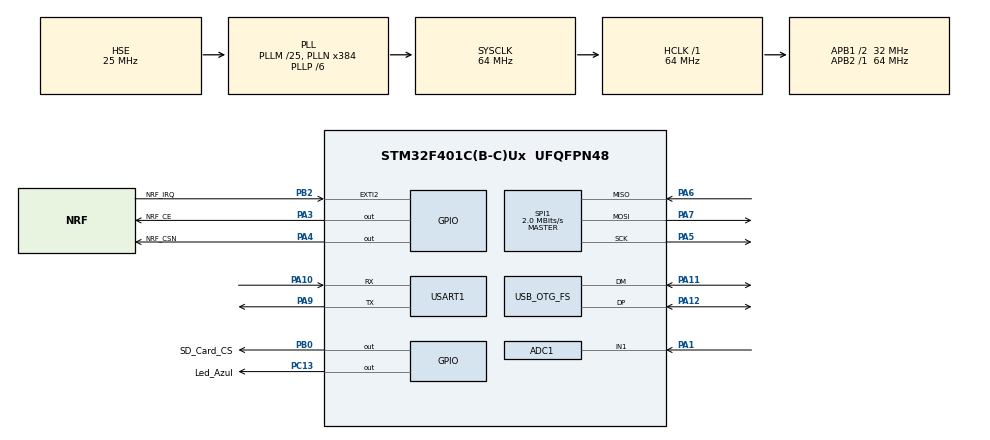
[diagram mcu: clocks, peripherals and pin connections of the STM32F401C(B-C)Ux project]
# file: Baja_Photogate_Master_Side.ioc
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ADC1.Channel-0\#ChannelRegularConversion=ADC_CHANNEL_1
ADC1.ContinuousConvMode=ENABLE
ADC1.DMAContinuousRequests=ENABLE
ADC1.NbrOfConversionFlag=1
ADC1.Rank-0\#ChannelRegularConversion=1
ADC1.SamplingTime-0\#ChannelRegularConversion=ADC_SAMPLETIME_480CYCLES
ADC1.master=1
Dma.ADC1.1.Direction=DMA_PERIPH_TO_MEMORY
Dma.ADC1.1.FIFOMode=DMA_FIFOMODE_DISABLE
Dma.ADC1.1.Instance=DMA2_Stream0
Dma.ADC1.1.MemDataAlignment=DMA_MDATAALIGN_HALFWORD
Dma.ADC1.1.MemInc=DMA_MINC_ENABLE
Dma.ADC1.1.Mode=DMA_CIRCULAR
Dma.ADC1.1.PeriphDataAlignment=DMA_PDATAALIGN_HALFWORD
Dma.ADC1.1.PeriphInc=DMA_PINC_DISABLE
Dma.ADC1.1.Priority=DMA_PRIORITY_LOW
Dma.Request0=USART1_RX
Dma.Request1=ADC1
Dma.Request2=USART1_TX
Dma.USART1_RX.0.Direction=DMA_PERIPH_TO_MEMORY
Dma.USART1_RX.0.FIFOMode=DMA_FIFOMODE_DISABLE
Dma.USART1_RX.0.Instance=DMA2_Stream2
Dma.USART1_RX.0.MemDataAlignment=DMA_MDATAALIGN_BYTE
Dma.USART1_RX.0.MemInc=DMA_MINC_ENABLE
Dma.USART1_RX.0.Mode=DMA_CIRCULAR
Dma.USART1_RX.0.PeriphDataAlignment=DMA_PDATAALIGN_BYTE
Dma.USART1_RX.0.PeriphInc=DMA_PINC_DISABLE
Dma.USART1_RX.0.Priority=DMA_PRIORITY_VERY_HIGH
Dma.USART1_TX.2.Direction=DMA_MEMORY_TO_PERIPH
Dma.USART1_TX.2.FIFOMode=DMA_FIFOMODE_DISABLE
Dma.USART1_TX.2.Instance=DMA2_Stream7
Dma.USART1_TX.2.MemDataAlignment=DMA_MDATAALIGN_BYTE
Dma.USART1_TX.2.MemInc=DMA_MINC_ENABLE
Dma.USART1_TX.2.Mode=DMA_NORMAL
Dma.USART1_TX.2.PeriphDataAlignment=DMA_PDATAALIGN_BYTE
Dma.USART1_TX.2.PeriphInc=DMA_PINC_DISABLE
Dma.USART1_TX.2.Priority=DMA_PRIORITY_LOW
FATFS._CODE_PAGE=860
FATFS._FS_EXFAT=1
FATFS._MAX_SS=512
FATFS._USE_FASTSEEK=1
FATFS._USE_FIND=0
FATFS._USE_LFN=1
FATFS._USE_MKFS=1
Mcu.Family=STM32F4
Mcu.Name=STM32F401C(B-C)Ux
Mcu.Package=UFQFPN48
NVIC.DMA2_Stream0_IRQn=true\:3\:0\:true\:false\:true\:false\:true\:true
NVIC.DMA2_Stream2_IRQn=true\:3\:0\:true\:false\:true\:false\:true\:true
NVIC.DMA2_Stream7_IRQn=true\:3\:0\:true\:false\:true\:false\:true\:true
NVIC.EXTI2_IRQn=true\:1\:0\:true\:false\:true\:true\:true\:false
NVIC.FPU_IRQn=true\:15\:0\:true\:false\:true\:true\:false\:true
NVIC.OTG_FS_IRQn=true\:13\:0\:true\:false\:true\:false\:true\:true
NVIC.PriorityGroup=NVIC_PRIORITYGROUP_4
NVIC.RCC_IRQn=true\:0\:0\:false\:false\:true\:true\:false\:true
NVIC.TIM1_TRG_COM_TIM11_IRQn=true\:1\:0\:true\:false\:true\:true\:true\:true
NVIC.TIM1_UP_TIM10_IRQn=true\:7\:0\:true\:false\:true\:true\:true\:true
PA1.Signal=ADCx_IN1
PA10.Mode=Asynchronous
PA10.Signal=USART1_RX
PA11.Mode=Device_Only
PA11.Signal=USB_OTG_FS_DM
PA12.Mode=Device_Only
PA12.Signal=USB_OTG_FS_DP
PA3.GPIO_Label=NRF_CE
PA3.GPIO_Speed=GPIO_SPEED_FREQ_VERY_HIGH
PA3.Signal=GPIO_Output
PA4.GPIO_Label=NRF_CSN
PA4.GPIO_Speed=GPIO_SPEED_FREQ_VERY_HIGH
PA4.PinState=GPIO_PIN_RESET
PA4.Signal=GPIO_Output
PA5.Mode=Full_Duplex_Master
PA5.Signal=SPI1_SCK
PA6.Mode=Full_Duplex_Master
PA6.Signal=SPI1_MISO
PA7.Mode=Full_Duplex_Master
PA7.Signal=SPI1_MOSI
PA9.Mode=Asynchronous
PA9.Signal=USART1_TX
PB0.GPIO_Label=SD_Card_CS
PB0.GPIO_PuPd=GPIO_PULLUP
PB0.GPIO_Speed=GPIO_SPEED_FREQ_VERY_HIGH
PB0.PinState=GPIO_PIN_SET
PB0.Signal=GPIO_Output
PB2.GPIO_Label=NRF_IRQ
PB2.GPIO_ModeDefaultEXTI=GPIO_MODE_IT_FALLING
PB2.GPIO_PuPd=GPIO_PULLDOWN
PB2.Signal=GPXTI2
PC13-ANTI_TAMP.GPIO_Label=Led_Azul
PC13-ANTI_TAMP.PinState=GPIO_PIN_SET
PC13-ANTI_TAMP.Signal=GPIO_Output
PH0\ -\ OSC_IN.Mode=HSE-External-Oscillator
PH0\ -\ OSC_IN.Signal=RCC_OSC_IN
PH1\ -\ OSC_OUT.Mode=HSE-External-Oscillator
PH1\ -\ OSC_OUT.Signal=RCC_OSC_OUT
ProjectManager.HeapSize=0x200
ProjectManager.StackSize=0x400
ProjectManager.TargetToolchain=STM32CubeIDE
RCC.48MHZClocksFreq_Value=48000000
RCC.AHBFreq_Value=64000000
RCC.APB1CLKDivider=RCC_HCLK_DIV2
RCC.APB1Freq_Value=32000000
RCC.APB1TimFreq_Value=64000000
RCC.APB2Freq_Value=64000000
RCC.APB2TimFreq_Value=64000000
RCC.CortexFreq_Value=64000000
RCC.HCLKFreq_Value=64000000
RCC.HSE_VALUE=25000000
RCC.HSI_VALUE=16000000
RCC.LSE_VALUE=32768
RCC.PLLM=25
RCC.PLLN=384
RCC.PLLP=RCC_PLLP_DIV6
RCC.PLLQ=8
RCC.SYSCLKFreq_VALUE=64000000
RCC.SYSCLKSource=RCC_SYSCLKSOURCE_PLLCLK
RCC.VCOOutputFreq_Value=384000000
SH.ADCx_IN1.0=ADC1_IN1,IN1
SPI1.BaudRatePrescaler=SPI_BAUDRATEPRESCALER_32
SPI1.CalculateBaudRate=2.0 MBits/s
SPI1.Direction=SPI_DIRECTION_2LINES
SPI1.Mode=SPI_MODE_MASTER
SPI1.VirtualType=VM_MASTER
TIM10.Period=199
TIM10.Prescaler=63999
TIM11.Period=999
TIM11.Prescaler=63999
USART1.VirtualMode=VM_ASYNC
USB_DEVICE.APP_RX_DATA_SIZE=128
USB_DEVICE.APP_TX_DATA_SIZE=1024
USB_DEVICE.CLASS_NAME_FS=CDC
USB_DEVICE.MANUFACTURER_STRING=Joao_Carvalho
USB_DEVICE.PRODUCT_STRING_CDC_FS=BAJA_Photogate_Master
USB_DEVICE.VID=1551
USB_DEVICE.VirtualMode=Cdc
USB_DEVICE.VirtualModeFS=Cdc_FS
USB_OTG_FS.VirtualMode=Device_Only
VP_FATFS_VS_Generic.Mode=User_defined
VP_TIM10_VS_ClockSourceINT.Mode=Enable_Timer
VP_TIM11_VS_ClockSourceINT.Mode=Enable_Timer
VP_USB_DEVICE_VS_USB_DEVICE_CDC_FS.Mode=CDC_FS
board=custom

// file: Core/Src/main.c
/* USER CODE BEGIN Header */
/**
  ******************************************************************************
  * @file           : main.c
  * @brief          : Main program body
  ******************************************************************************
  * @attention
  *
  * Copyright (c) 2023 STMicroelectronics.
  * All rights reserved.
  *
  * This software is licensed under terms that can be found in the LICENSE file
  * in the root directory of this software component.
  * If no LICENSE file comes with this software, it is provided AS-IS.
  *
  ******************************************************************************
  */
/* USER CODE END Header */
#include "main.h"
#include "fatfs.h"
#include "usb_device.h"

/* USER CODE BEGIN Includes */

#include "Nextion_Interface.h"
#include "nrf24.h"
#include "Shared_Definitions.h"

/* USER CODE END Includes */

ADC_HandleTypeDef hadc1;
DMA_HandleTypeDef hdma_adc1;

SPI_HandleTypeDef hspi1;

TIM_HandleTypeDef htim10;
TIM_HandleTypeDef htim11;

UART_HandleTypeDef huart1;
DMA_HandleTypeDef hdma_usart1_rx;
DMA_HandleTypeDef hdma_usart1_tx;

/* USER CODE BEGIN PV */

volatile BEACONMODE_TypeDef Device_Current_Mode =  STANDBY_MODE;
volatile BEACONMODE_TypeDef Device_Previous_Mode =  STANDBY_MODE;
volatile uint8_t Rx_Buffer[20];
char SD_Read_Buffer[200];
uint16_t Analog_read, RWbytecounter, TotalSize1, FreeSpace1, FreClusters1;
FATFS fs;
FATFS *Dummy1;
FIL fil;
FRESULT SD_Operation_Result = FR_DISK_ERR;

/* USER CODE END PV */

void SystemClock_Config(void);
static void MX_GPIO_Init(void);
static void MX_DMA_Init(void);
static void MX_SPI1_Init(void);
static void MX_TIM10_Init(void);
static void MX_USART1_UART_Init(void);
static void MX_ADC1_Init(void);
static void MX_TIM11_Init(void);
/* USER CODE BEGIN PFP */

void SystemClock_Config(void);
static void MX_GPIO_Init(void);
/* USER CODE BEGIN PFP */

/* USER CODE END PFP */

int main(void)
{

  /* MCU Configuration--------------------------------------------------------*/

  /* Reset of all peripherals, Initializes the Flash interface and the Systick. */
  HAL_Init();

  /* Configure the system clock */
  SystemClock_Config();

  /* Initialize all configured peripherals */
  MX_GPIO_Init();
  MX_DMA_Init();
  MX_SPI1_Init();
  MX_FATFS_Init();
  MX_TIM10_Init();
  MX_USB_DEVICE_Init();
  MX_USART1_UART_Init();
  MX_ADC1_Init();
  MX_TIM11_Init();
  /* USER CODE BEGIN 2 */

  nRF24_Init();
  while(nRF24_Check() != 1) nRF24_Init();
  NRF_24_Master_Init();

  Initialize_Batt_Avg_Calc();

  HAL_Delay(500);

  //------------------[ Mount The SD Card ]--------------------
  SD_Operation_Result = f_mount(&fs, "", 1);
  f_getfree("", &RWbytecounter, &Dummy1);
  TotalSize1 = (uint32_t)((Dummy1->n_fatent - 2) * Dummy1->csize * 0.5);
  FreeSpace1 = (uint32_t)(FreClusters1 * Dummy1->csize * 0.5);

  SD_Operation_Result = f_open(&fil, "ResultadosAVF.txt", FA_READ | FA_OPEN_APPEND);
  if(SD_Operation_Result != FR_OK){

	  SD_Operation_Result = f_open(&fil, "ResultadosAVF.txt", FA_WRITE | FA_READ | FA_CREATE_ALWAYS);
  }
   f_close(&fil);

   //===============================================================

  HAL_UART_Receive_DMA(&huart1, Rx_Buffer, 5);

  HAL_ADC_Start_DMA(&hadc1, &Analog_read, 1);

  Nextion_Init();
  Nextion_Update_SD_Status(SD_Operation_Result);

  HAL_TIM_Base_Start_IT(&htim10);
  HAL_TIM_Base_Start_IT(&htim11);
  HAL_NVIC_EnableIRQ(EXTI2_IRQn);

  /* USER CODE END 2 */

  /* Infinite loop */
  while (1)
  {

  }
}

void SystemClock_Config(void)
{
  RCC_OscInitTypeDef RCC_OscInitStruct = {0};
  RCC_ClkInitTypeDef RCC_ClkInitStruct = {0};

  /** Configure the main internal regulator output voltage
  */
  __HAL_RCC_PWR_CLK_ENABLE();
  __HAL_PWR_VOLTAGESCALING_CONFIG(PWR_REGULATOR_VOLTAGE_SCALE2);

  /** Initializes the RCC Oscillators according to the specified parameters
  * in the RCC_OscInitTypeDef structure.
  */
  RCC_OscInitStruct.OscillatorType = RCC_OSCILLATORTYPE_HSE;
  RCC_OscInitStruct.HSEState = RCC_HSE_ON;
  RCC_OscInitStruct.PLL.PLLState = RCC_PLL_ON;
  RCC_OscInitStruct.PLL.PLLSource = RCC_PLLSOURCE_HSE;
  RCC_OscInitStruct.PLL.PLLM = 25;
  RCC_OscInitStruct.PLL.PLLN = 384;
  RCC_OscInitStruct.PLL.PLLP = RCC_PLLP_DIV6;
  RCC_OscInitStruct.PLL.PLLQ = 8;
  if (HAL_RCC_OscConfig(&RCC_OscInitStruct) != HAL_OK)
  {
    Error_Handler();
  }

  /** Initializes the CPU, AHB and APB buses clocks
  */
  RCC_ClkInitStruct.ClockType = RCC_CLOCKTYPE_HCLK|RCC_CLOCKTYPE_SYSCLK
                              |RCC_CLOCKTYPE_PCLK1|RCC_CLOCKTYPE_PCLK2;
  RCC_ClkInitStruct.SYSCLKSource = RCC_SYSCLKSOURCE_PLLCLK;
  RCC_ClkInitStruct.AHBCLKDivider = RCC_SYSCLK_DIV1;
  RCC_ClkInitStruct.APB1CLKDivider = RCC_HCLK_DIV2;
  RCC_ClkInitStruct.APB2CLKDivider = RCC_HCLK_DIV1;

  if (HAL_RCC_ClockConfig(&RCC_ClkInitStruct, FLASH_LATENCY_2) != HAL_OK)
  {
    Error_Handler();
  }
}

static void MX_ADC1_Init(void)
{

  ADC_ChannelConfTypeDef sConfig = {0};

  /** Configure the global features of the ADC (Clock, Resolution, Data Alignment and number of conversion)
  */
  hadc1.Instance = ADC1;
  hadc1.Init.ClockPrescaler = ADC_CLOCK_SYNC_PCLK_DIV2;
  hadc1.Init.Resolution = ADC_RESOLUTION_12B;
  hadc1.Init.ScanConvMode = DISABLE;
  hadc1.Init.ContinuousConvMode = ENABLE;
  hadc1.Init.DiscontinuousConvMode = DISABLE;
  hadc1.Init.ExternalTrigConvEdge = ADC_EXTERNALTRIGCONVEDGE_NONE;
  hadc1.Init.ExternalTrigConv = ADC_SOFTWARE_START;
  hadc1.Init.DataAlign = ADC_DATAALIGN_RIGHT;
  hadc1.Init.NbrOfConversion = 1;
  hadc1.Init.DMAContinuousRequests = ENABLE;
  hadc1.Init.EOCSelection = ADC_EOC_SINGLE_CONV;
  if (HAL_ADC_Init(&hadc1) != HAL_OK)
  {
    Error_Handler();
  }

  /** Configure for the selected ADC regular channel its corresponding rank in the sequencer and its sample time.
  */
  sConfig.Channel = ADC_CHANNEL_1;
  sConfig.Rank = 1;
  sConfig.SamplingTime = ADC_SAMPLETIME_480CYCLES;
  if (HAL_ADC_ConfigChannel(&hadc1, &sConfig) != HAL_OK)
  {
    Error_Handler();
  }

}

static void MX_SPI1_Init(void)
{

  /* SPI1 parameter configuration*/
  hspi1.Instance = SPI1;
  hspi1.Init.Mode = SPI_MODE_MASTER;
  hspi1.Init.Direction = SPI_DIRECTION_2LINES;
  hspi1.Init.DataSize = SPI_DATASIZE_8BIT;
  hspi1.Init.CLKPolarity = SPI_POLARITY_LOW;
  hspi1.Init.CLKPhase = SPI_PHASE_1EDGE;
  hspi1.Init.NSS = SPI_NSS_SOFT;
  hspi1.Init.BaudRatePrescaler = SPI_BAUDRATEPRESCALER_32;
  hspi1.Init.FirstBit = SPI_FIRSTBIT_MSB;
  hspi1.Init.TIMode = SPI_TIMODE_DISABLE;
  hspi1.Init.CRCCalculation = SPI_CRCCALCULATION_DISABLE;
  hspi1.Init.CRCPolynomial = 10;
  if (HAL_SPI_Init(&hspi1) != HAL_OK)
  {
    Error_Handler();
  }

}

static void MX_TIM10_Init(void)
{

  htim10.Instance = TIM10;
  htim10.Init.Prescaler = 63999;
  htim10.Init.CounterMode = TIM_COUNTERMODE_UP;
  htim10.Init.Period = 199;
  htim10.Init.ClockDivision = TIM_CLOCKDIVISION_DIV1;
  htim10.Init.AutoReloadPreload = TIM_AUTORELOAD_PRELOAD_DISABLE;
  if (HAL_TIM_Base_Init(&htim10) != HAL_OK)
  {
    Error_Handler();
  }

}

static void MX_TIM11_Init(void)
{

  htim11.Instance = TIM11;
  htim11.Init.Prescaler = 63999;
  htim11.Init.CounterMode = TIM_COUNTERMODE_UP;
  htim11.Init.Period = 999;
  htim11.Init.ClockDivision = TIM_CLOCKDIVISION_DIV1;
  htim11.Init.AutoReloadPreload = TIM_AUTORELOAD_PRELOAD_DISABLE;
  if (HAL_TIM_Base_Init(&htim11) != HAL_OK)
  {
    Error_Handler();
  }

}

static void MX_USART1_UART_Init(void)
{

  huart1.Instance = USART1;
  huart1.Init.BaudRate = 115200;
  huart1.Init.WordLength = UART_WORDLENGTH_8B;
  huart1.Init.StopBits = UART_STOPBITS_1;
  huart1.Init.Parity = UART_PARITY_NONE;
  huart1.Init.Mode = UART_MODE_TX_RX;
  huart1.Init.HwFlowCtl = UART_HWCONTROL_NONE;
  huart1.Init.OverSampling = UART_OVERSAMPLING_16;
  if (HAL_UART_Init(&huart1) != HAL_OK)
  {
    Error_Handler();
  }

}

static void MX_DMA_Init(void)
{

  /* DMA controller clock enable */
  __HAL_RCC_DMA2_CLK_ENABLE();

  /* DMA interrupt init */
  /* DMA2_Stream0_IRQn interrupt configuration */
  HAL_NVIC_SetPriority(DMA2_Stream0_IRQn, 3, 0);
  HAL_NVIC_EnableIRQ(DMA2_Stream0_IRQn);
  /* DMA2_Stream2_IRQn interrupt configuration */
  HAL_NVIC_SetPriority(DMA2_Stream2_IRQn, 3, 0);
  HAL_NVIC_EnableIRQ(DMA2_Stream2_IRQn);
  /* DMA2_Stream7_IRQn interrupt configuration */
  HAL_NVIC_SetPriority(DMA2_Stream7_IRQn, 3, 0);
  HAL_NVIC_EnableIRQ(DMA2_Stream7_IRQn);

}

static void MX_GPIO_Init(void)
{
  GPIO_InitTypeDef GPIO_InitStruct = {0};

  /* GPIO Ports Clock Enable */
  __HAL_RCC_GPIOC_CLK_ENABLE();
  __HAL_RCC_GPIOH_CLK_ENABLE();
  __HAL_RCC_GPIOA_CLK_ENABLE();
  __HAL_RCC_GPIOB_CLK_ENABLE();

  /*Configure GPIO pin Output Level */
  HAL_GPIO_WritePin(Led_Azul_GPIO_Port, Led_Azul_Pin, GPIO_PIN_SET);

  /*Configure GPIO pin Output Level */
  HAL_GPIO_WritePin(GPIOA, NRF_CE_Pin|NRF_CSN_Pin, GPIO_PIN_RESET);

  /*Configure GPIO pin Output Level */
  HAL_GPIO_WritePin(SD_Card_CS_GPIO_Port, SD_Card_CS_Pin, GPIO_PIN_SET);

  /*Configure GPIO pin : Led_Azul_Pin */
  GPIO_InitStruct.Pin = Led_Azul_Pin;
  GPIO_InitStruct.Mode = GPIO_MODE_OUTPUT_PP;
  GPIO_InitStruct.Pull = GPIO_NOPULL;
  GPIO_InitStruct.Speed = GPIO_SPEED_FREQ_LOW;
  HAL_GPIO_Init(Led_Azul_GPIO_Port, &GPIO_InitStruct);

  /*Configure GPIO pins : NRF_CE_Pin NRF_CSN_Pin */
  GPIO_InitStruct.Pin = NRF_CE_Pin|NRF_CSN_Pin;
  GPIO_InitStruct.Mode = GPIO_MODE_OUTPUT_PP;
  GPIO_InitStruct.Pull = GPIO_NOPULL;
  GPIO_InitStruct.Speed = GPIO_SPEED_FREQ_VERY_HIGH;
  HAL_GPIO_Init(GPIOA, &GPIO_InitStruct);

  /*Configure GPIO pin : SD_Card_CS_Pin */
  GPIO_InitStruct.Pin = SD_Card_CS_Pin;
  GPIO_InitStruct.Mode = GPIO_MODE_OUTPUT_PP;
  GPIO_InitStruct.Pull = GPIO_PULLUP;
  GPIO_InitStruct.Speed = GPIO_SPEED_FREQ_VERY_HIGH;
  HAL_GPIO_Init(SD_Card_CS_GPIO_Port, &GPIO_InitStruct);

  /*Configure GPIO pin : NRF_IRQ_Pin */
  GPIO_InitStruct.Pin = NRF_IRQ_Pin;
  GPIO_InitStruct.Mode = GPIO_MODE_IT_FALLING;
  GPIO_InitStruct.Pull = GPIO_PULLDOWN;
  HAL_GPIO_Init(NRF_IRQ_GPIO_Port, &GPIO_InitStruct);

  /* EXTI interrupt init*/
  HAL_NVIC_SetPriority(EXTI2_IRQn, 1, 0);

}

void Error_Handler(void)
{
  /* USER CODE BEGIN Error_Handler_Debug */
  /* User can add his own implementation to report the HAL error return state */
  __disable_irq();
  HAL_SPI_DeInit(&hspi1);
  MX_SPI1_Init();
  __enable_irq();

  /* USER CODE END Error_Handler_Debug */
}
